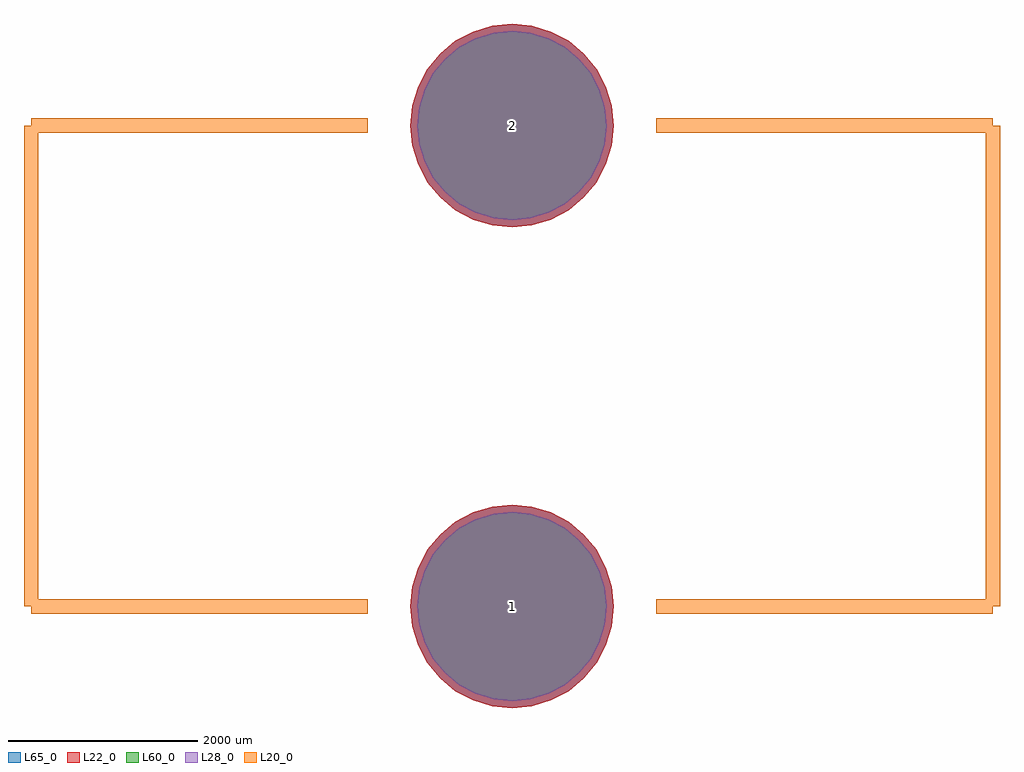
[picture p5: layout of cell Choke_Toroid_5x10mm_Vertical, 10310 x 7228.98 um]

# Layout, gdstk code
import gdstk
lib = gdstk.Library(unit=1e-6, precision=1e-09)
def P(c, l, *ps):  # polygons
    for p in ps: c.add(gdstk.Polygon(p, *l))
L20_0 = (20, 0)
L22_0 = (22, 0)
L28_0 = (28, 0)
L60_0 = (60, 0)
L65_0 = (65, 0)

choke_toroid_5x10mm_vert = lib.new_cell('Choke_Toroid_5x10mm_Vertical')
P(choke_toroid_5x10mm_vert, L22_0, [(6154.49,5080),(6133.844,5289.623),(6072.699,5491.19),(5973.406,5676.955),(5839.779,5839.779),(5676.955,5973.406),(5491.19,6072.699),(5289.623,6133.844),(5080,6154.49),(4870.377,6133.844),(4668.81,6072.699),(4483.045,5973.406),(4320.221,5839.779),(4186.594,5676.955),(4087.301,5491.19),(4026.156,5289.623),(4005.51,5080),(4026.156,4870.377),(4087.301,4668.81),(4186.594,4483.045),(4320.221,4320.221),(4483.045,4186.594),(4668.81,4087.301),(4870.377,4026.156),(5080,4005.51),(5289.623,4026.156),(5491.19,4087.301),(5676.955,4186.594),(5839.779,4320.221),(5973.406,4483.045),(6072.699,4668.81),(6133.844,4870.377)],
  [(6154.49,0),(6133.844,209.623),(6072.699,411.19),(5973.406,596.955),(5839.779,759.779),(5676.955,893.406),(5491.19,992.699),(5289.623,1053.844),(5080,1074.49),(4870.377,1053.844),(4668.81,992.699),(4483.045,893.406),(4320.221,759.779),(4186.594,596.955),(4087.301,411.19),(4026.156,209.623),(4005.51,0),(4026.156,-209.623),(4087.301,-411.19),(4186.594,-596.955),(4320.221,-759.779),(4483.045,-893.406),(4668.81,-992.699),(4870.377,-1053.844),(5080,-1074.49),(5289.623,-1053.844),(5491.19,-992.699),(5676.955,-893.406),(5839.779,-759.779),(5973.406,-596.955),(6072.699,-411.19),(6133.844,-209.623)])
P(choke_toroid_5x10mm_vert, L28_0, [(6079.49,5080),(6060.285,5274.991),(6003.408,5462.488),(5911.046,5635.287),(5786.746,5786.746),(5635.287,5911.046),(5462.488,6003.408),(5274.991,6060.285),(5080,6079.49),(4885.009,6060.285),(4697.512,6003.408),(4524.713,5911.046),(4373.254,5786.746),(4248.954,5635.287),(4156.592,5462.488),(4099.715,5274.991),(4080.51,5080),(4099.715,4885.009),(4156.592,4697.512),(4248.954,4524.713),(4373.254,4373.254),(4524.713,4248.954),(4697.512,4156.592),(4885.009,4099.715),(5080,4080.51),(5274.991,4099.715),(5462.488,4156.592),(5635.287,4248.954),(5786.746,4373.254),(5911.046,4524.713),(6003.408,4697.512),(6060.285,4885.009)],
  [(6079.49,0),(6060.285,194.991),(6003.408,382.488),(5911.046,555.287),(5786.746,706.746),(5635.287,831.046),(5462.488,923.408),(5274.991,980.285),(5080,999.49),(4885.009,980.285),(4697.512,923.408),(4524.713,831.046),(4373.254,706.746),(4248.954,555.287),(4156.592,382.488),(4099.715,194.991),(4080.51,0),(4099.715,-194.991),(4156.592,-382.488),(4248.954,-555.287),(4373.254,-706.746),(4524.713,-831.046),(4697.512,-923.408),(4885.009,-980.285),(5080,-999.49),(5274.991,-980.285),(5462.488,-923.408),(5635.287,-831.046),(5786.746,-706.746),(5911.046,-555.287),(6003.408,-382.488),(6060.285,-194.991)])
P(choke_toroid_5x10mm_vert, L60_0, [(6079.49,5080),(6060.285,5274.991),(6003.408,5462.488),(5911.046,5635.287),(5786.746,5786.746),(5635.287,5911.046),(5462.488,6003.408),(5274.991,6060.285),(5080,6079.49),(4885.009,6060.285),(4697.512,6003.408),(4524.713,5911.046),(4373.254,5786.746),(4248.954,5635.287),(4156.592,5462.488),(4099.715,5274.991),(4080.51,5080),(4099.715,4885.009),(4156.592,4697.512),(4248.954,4524.713),(4373.254,4373.254),(4524.713,4248.954),(4697.512,4156.592),(4885.009,4099.715),(5080,4080.51),(5274.991,4099.715),(5462.488,4156.592),(5635.287,4248.954),(5786.746,4373.254),(5911.046,4524.713),(6003.408,4697.512),(6060.285,4885.009)],
  [(6079.49,0),(6060.285,194.991),(6003.408,382.488),(5911.046,555.287),(5786.746,706.746),(5635.287,831.046),(5462.488,923.408),(5274.991,980.285),(5080,999.49),(4885.009,980.285),(4697.512,923.408),(4524.713,831.046),(4373.254,706.746),(4248.954,555.287),(4156.592,382.488),(4099.715,194.991),(4080.51,0),(4099.715,-194.991),(4156.592,-382.488),(4248.954,-555.287),(4373.254,-706.746),(4524.713,-831.046),(4697.512,-923.408),(4885.009,-980.285),(5080,-999.49),(5274.991,-980.285),(5462.488,-923.408),(5635.287,-831.046),(5786.746,-706.746),(5911.046,-555.287),(6003.408,-382.488),(6060.285,-194.991)])
P(choke_toroid_5x10mm_vert, L65_0, [(6154.49,5080),(6133.844,5289.623),(6072.699,5491.19),(5973.406,5676.955),(5839.779,5839.779),(5676.955,5973.406),(5491.19,6072.699),(5289.623,6133.844),(5080,6154.49),(4870.377,6133.844),(4668.81,6072.699),(4483.045,5973.406),(4320.221,5839.779),(4186.594,5676.955),(4087.301,5491.19),(4026.156,5289.623),(4005.51,5080),(4026.156,4870.377),(4087.301,4668.81),(4186.594,4483.045),(4320.221,4320.221),(4483.045,4186.594),(4668.81,4087.301),(4870.377,4026.156),(5080,4005.51),(5289.623,4026.156),(5491.19,4087.301),(5676.955,4186.594),(5839.779,4320.221),(5973.406,4483.045),(6072.699,4668.81),(6133.844,4870.377)],
  [(6154.49,0),(6133.844,209.623),(6072.699,411.19),(5973.406,596.955),(5839.779,759.779),(5676.955,893.406),(5491.19,992.699),(5289.623,1053.844),(5080,1074.49),(4870.377,1053.844),(4668.81,992.699),(4483.045,893.406),(4320.221,759.779),(4186.594,596.955),(4087.301,411.19),(4026.156,209.623),(4005.51,0),(4026.156,-209.623),(4087.301,-411.19),(4186.594,-596.955),(4320.221,-759.779),(4483.045,-893.406),(4668.81,-992.699),(4870.377,-1053.844),(5080,-1074.49),(5289.623,-1053.844),(5491.19,-992.699),(5676.955,-893.406),(5839.779,-759.779),(5973.406,-596.955),(6072.699,-411.19),(6133.844,-209.623)])
choke_toroid_5x10mm_vert.add(gdstk.FlexPath([(0,5080),(0,0)], 149.998, ends="flush", simple_path=True, layer=20, datatype=0))  # L20_0
choke_toroid_5x10mm_vert.add(gdstk.FlexPath([(10160,0),(10160,5080)], 149.998, ends="flush", simple_path=True, layer=20, datatype=0))  # L20_0
choke_toroid_5x10mm_vert.add(gdstk.FlexPath([(10160,5080),(7620,5080)], 149.998, ends="flush", simple_path=True, layer=20, datatype=0))  # L20_0
choke_toroid_5x10mm_vert.add(gdstk.FlexPath([(10160,0),(7620,0)], 149.998, ends="flush", simple_path=True, layer=20, datatype=0))  # L20_0
choke_toroid_5x10mm_vert.add(gdstk.FlexPath([(7620,5080),(6604,5080)], 149.998, ends="flush", simple_path=True, layer=20, datatype=0))  # L20_0
choke_toroid_5x10mm_vert.add(gdstk.FlexPath([(7620,0),(6604,0)], 149.998, ends="flush", simple_path=True, layer=20, datatype=0))  # L20_0
choke_toroid_5x10mm_vert.add(gdstk.FlexPath([(0,5080),(3556,5080)], 149.998, ends="flush", simple_path=True, layer=20, datatype=0))  # L20_0
choke_toroid_5x10mm_vert.add(gdstk.FlexPath([(0,0),(3556,0)], 149.998, ends="flush", simple_path=True, layer=20, datatype=0))  # L20_0
choke_toroid_5x10mm_vert.add(gdstk.Label('2', (5080,5080), layer=28, texttype=0))
choke_toroid_5x10mm_vert.add(gdstk.Label('1', (5080,0), layer=28, texttype=0))
choke_toroid_5x10mm_vert.add(gdstk.Label('type', (6350,-2540), layer=9, texttype=0))
choke_toroid_5x10mm_vert.add(gdstk.Label('devicename', (11430,7620), layer=9, texttype=0))

lib.write_gds('Choke_Toroid_5x10mm_Vertical.gds')
